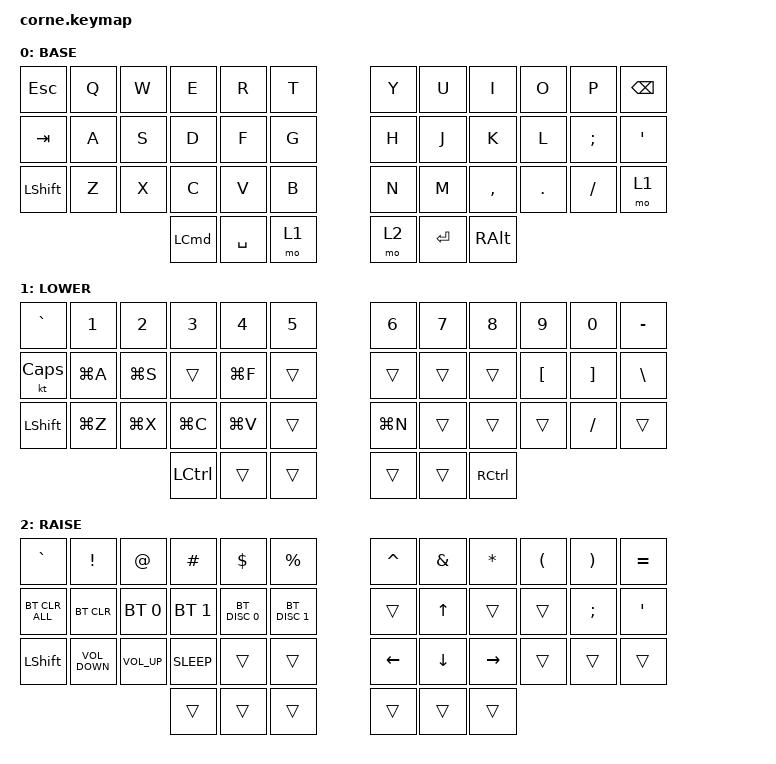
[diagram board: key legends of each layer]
/*
 * Copyright (c) 2020 The ZMK Contributors
 *
 * SPDX-License-Identifier: MIT
 */

#include <behaviors.dtsi>
#include <dt-bindings/zmk/bt.h>
#include <dt-bindings/zmk/keys.h>

/ {
    layers {
        BASE = <0>;
        LOWER = <1>;
        RAISE = <2>;
    };

    keymap {
        compatible = "zmk,keymap";

        BASE {
            // -----------------------------------------------------------------------------------------
            // |  TAB |  Q  |  W  |  E  |  R  |  T  |   |  Y  |  U   |  I  |  O  |  P  | BSPC |
            // | CTRL |  A  |  S  |  D  |  F  |  G  |   |  H  |  J   |  K  |  L  |  ;  |  '   |
            // | SHFT |  Z  |  X  |  C  |  V  |  B  |   |  N  |  M   |  ,  |  .  |  /  | ESC  |
            //                    | GUI | LWR | SPC |   | ENT | RSE  | ALT |

            bindings = <
&kp ESCAPE  &kp Q  &kp W  &kp E             &kp R      &kp T    &kp Y  &kp U      &kp I      &kp O    &kp P      &kp BSPC
&kp TAB     &kp A  &kp S  &kp D             &kp F      &kp G    &kp H  &kp J      &kp K      &kp L    &kp SEMI   &kp SQT
&kp LSHFT   &kp Z  &kp X  &kp C             &kp V      &kp B    &kp N  &kp M      &kp COMMA  &kp DOT  &kp SLASH  &mo 1
                          &kp LEFT_COMMAND  &kp SPACE  &mo 1    &mo 2  &kp ENTER  &kp RALT
            >;
        };

        LOWER {
            // -----------------------------------------------------------------------------------------
            // |  TAB |  1  |  2  |  3  |  4  |  5  |   |  6  |  7  |  8  |  9  |  0  | BSPC |
            // | BTCLR| BT1 | BT2 | BT3 | BT4 | BT5 |   | LFT | DWN |  UP | RGT |     |      |
            // | SHFT |     |     |     |     |     |   |     |     |     |     |     |      |
            //                    | GUI |     | SPC |   | ENT |     | ALT |

            bindings = <
&kp GRAVE     &kp N1     &kp N2     &kp N3            &kp N4     &kp N5    &kp N6     &kp N7  &kp N8             &kp N9            &kp N0             &kp MINUS
&kt CAPSLOCK  &kp LG(A)  &kp LG(S)  &trans            &kp LG(F)  &trans    &trans     &trans  &trans             &kp LEFT_BRACKET  &kp RIGHT_BRACKET  &kp BACKSLASH
&kp LSHFT     &kp LG(Z)  &kp LG(X)  &kp LG(C)         &kp LG(V)  &trans    &kp LG(N)  &trans  &trans             &trans            &kp SLASH          &trans
                                    &kp LEFT_CONTROL  &trans     &trans    &trans     &trans  &kp RIGHT_CONTROL
            >;
        };

        RAISE {
            // -----------------------------------------------------------------------------------------
            // |  TAB |  !  |  @  |  #  |  $  |  %  |   |  ^  |  &  |  *  |  (  |  )  | BSPC |
            // | CTRL |     |     |     |     |     |   |  -  |  =  |  [  |  ]  |  \  |  `   |
            // | SHFT |     |     |     |     |     |   |  _  |  +  |  {  |  }  | "|" |  ~   |
            //                    | GUI |     | SPC |   | ENT |     | ALT |

            bindings = <
&kp GRAVE       &kp EXCL           &kp AT           &kp HASH      &kp DLLR       &kp PRCNT        &kp CARET  &kp AMPS      &kp ASTRK  &kp LPAR  &kp RPAR       &kp EQUAL
&bt BT_CLR_ALL  &bt BT_CLR         &bt BT_SEL 0     &bt BT_SEL 1  &bt BT_DISC 0  &bt BT_DISC 1    &trans     &kp UP_ARROW  &trans     &trans    &kp SEMICOLON  &kp SQT
&kp LSHFT       &kp C_VOLUME_DOWN  &kp C_VOLUME_UP  &kp K_SLEEP   &trans         &trans           &kp LEFT   &kp DOWN      &kp RIGHT  &trans    &trans         &trans
                                                    &trans        &trans         &trans           &trans     &trans        &trans
            >;
        };
    };
};
